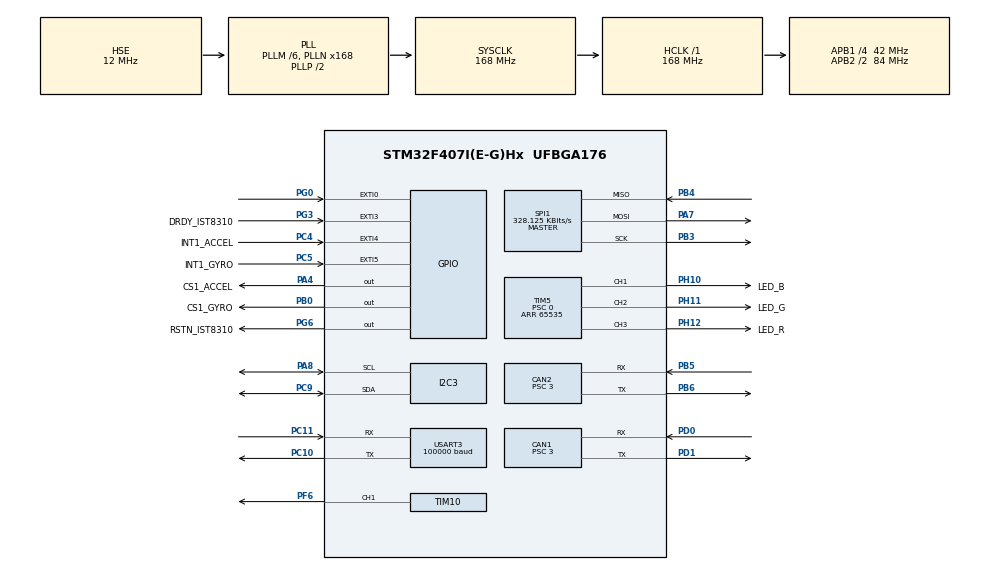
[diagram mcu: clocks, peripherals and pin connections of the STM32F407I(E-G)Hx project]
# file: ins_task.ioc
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CAN1.ABOM=ENABLE
CAN1.BS1=CAN_BS1_9TQ
CAN1.BS2=CAN_BS2_4TQ
CAN1.CalculateTimeQuantum=71.42857142857143
CAN1.Prescaler=3
CAN2.ABOM=ENABLE
CAN2.BS1=CAN_BS1_9TQ
CAN2.BS2=CAN_BS2_4TQ
CAN2.CalculateTimeQuantum=71.42857142857143
CAN2.Prescaler=3
Dma.Request0=SPI1_RX
Dma.Request1=SPI1_TX
Dma.Request2=USART3_RX
Dma.SPI1_RX.0.Direction=DMA_PERIPH_TO_MEMORY
Dma.SPI1_RX.0.FIFOMode=DMA_FIFOMODE_DISABLE
Dma.SPI1_RX.0.Instance=DMA2_Stream2
Dma.SPI1_RX.0.MemDataAlignment=DMA_MDATAALIGN_BYTE
Dma.SPI1_RX.0.MemInc=DMA_MINC_ENABLE
Dma.SPI1_RX.0.Mode=DMA_NORMAL
Dma.SPI1_RX.0.PeriphDataAlignment=DMA_PDATAALIGN_BYTE
Dma.SPI1_RX.0.PeriphInc=DMA_PINC_DISABLE
Dma.SPI1_RX.0.Priority=DMA_PRIORITY_VERY_HIGH
Dma.SPI1_TX.1.Direction=DMA_MEMORY_TO_PERIPH
Dma.SPI1_TX.1.FIFOMode=DMA_FIFOMODE_DISABLE
Dma.SPI1_TX.1.Instance=DMA2_Stream3
Dma.SPI1_TX.1.MemDataAlignment=DMA_MDATAALIGN_BYTE
Dma.SPI1_TX.1.MemInc=DMA_MINC_ENABLE
Dma.SPI1_TX.1.Mode=DMA_NORMAL
Dma.SPI1_TX.1.PeriphDataAlignment=DMA_PDATAALIGN_BYTE
Dma.SPI1_TX.1.PeriphInc=DMA_PINC_DISABLE
Dma.SPI1_TX.1.Priority=DMA_PRIORITY_HIGH
Dma.USART3_RX.2.Direction=DMA_PERIPH_TO_MEMORY
Dma.USART3_RX.2.FIFOMode=DMA_FIFOMODE_DISABLE
Dma.USART3_RX.2.Instance=DMA1_Stream1
Dma.USART3_RX.2.MemDataAlignment=DMA_MDATAALIGN_BYTE
Dma.USART3_RX.2.MemInc=DMA_MINC_ENABLE
Dma.USART3_RX.2.Mode=DMA_NORMAL
Dma.USART3_RX.2.PeriphDataAlignment=DMA_PDATAALIGN_BYTE
Dma.USART3_RX.2.PeriphInc=DMA_PINC_DISABLE
Dma.USART3_RX.2.Priority=DMA_PRIORITY_LOW
FREERTOS.INCLUDE_eTaskGetState=1
FREERTOS.INCLUDE_pcTaskGetTaskName=1
FREERTOS.INCLUDE_uxTaskGetStackHighWaterMark=1
FREERTOS.INCLUDE_vTaskCleanUpResources=1
FREERTOS.INCLUDE_vTaskDelayUntil=1
FREERTOS.INCLUDE_xEventGroupSetBitFromISR=1
FREERTOS.INCLUDE_xQueueGetMutexHolder=1
FREERTOS.INCLUDE_xSemaphoreGetMutexHolder=1
FREERTOS.INCLUDE_xTaskAbortDelay=1
FREERTOS.INCLUDE_xTaskGetCurrentTaskHandle=1
FREERTOS.INCLUDE_xTaskGetHandle=1
FREERTOS.INCLUDE_xTimerPendFunctionCall=1
FREERTOS.Tasks01=test,24,128,test_task,As weak,NULL,Dynamic,NULL,NULL
FREERTOS.configTOTAL_HEAP_SIZE=24576
I2C3.I2C_Mode=I2C_Fast
Mcu.Family=STM32F4
Mcu.Name=STM32F407I(E-G)Hx
Mcu.Package=UFBGA176
NVIC.CAN1_RX0_IRQn=true\:5\:0\:false\:false\:true\:true\:true\:true
NVIC.CAN1_TX_IRQn=true\:5\:0\:false\:false\:true\:true\:true\:true
NVIC.CAN2_RX0_IRQn=true\:5\:0\:false\:false\:true\:true\:true\:true
NVIC.CAN2_TX_IRQn=true\:5\:0\:false\:false\:true\:true\:true\:true
NVIC.DMA1_Stream1_IRQn=true\:5\:0\:false\:false\:true\:true\:false\:true
NVIC.DMA2_Stream2_IRQn=true\:5\:0\:true\:false\:false\:true\:false\:true
NVIC.DMA2_Stream3_IRQn=true\:5\:0\:true\:false\:false\:true\:false\:true
NVIC.EXTI0_IRQn=true\:6\:0\:true\:false\:true\:true\:true\:true
NVIC.EXTI3_IRQn=true\:5\:0\:true\:false\:true\:true\:true\:true
NVIC.EXTI4_IRQn=true\:5\:0\:true\:false\:true\:true\:true\:true
NVIC.EXTI9_5_IRQn=true\:5\:0\:true\:false\:true\:true\:true\:true
NVIC.PriorityGroup=NVIC_PRIORITYGROUP_4
NVIC.USART3_IRQn=true\:5\:0\:false\:false\:true\:true\:true\:true
PA13.Mode=Serial_Wire
PA13.Signal=SYS_JTMS-SWDIO
PA14.Mode=Serial_Wire
PA14.Signal=SYS_JTCK-SWCLK
PA4.GPIO_Label=CS1_ACCEL
PA4.GPIO_PuPd=GPIO_PULLUP
PA4.GPIO_Speed=GPIO_SPEED_FREQ_HIGH
PA4.PinState=GPIO_PIN_SET
PA4.Signal=GPIO_Output
PA7.GPIO_PuPd=GPIO_PULLUP
PA7.Mode=Full_Duplex_Master
PA7.Signal=SPI1_MOSI
PA8.Mode=I2C
PA8.Signal=I2C3_SCL
PB0.GPIO_Label=CS1_GYRO
PB0.GPIO_PuPd=GPIO_PULLUP
PB0.GPIO_Speed=GPIO_SPEED_FREQ_HIGH
PB0.PinState=GPIO_PIN_SET
PB0.Signal=GPIO_Output
PB3.GPIO_PuPd=GPIO_PULLUP
PB3.Mode=Full_Duplex_Master
PB3.Signal=SPI1_SCK
PB4.GPIO_PuPd=GPIO_PULLUP
PB4.Mode=Full_Duplex_Master
PB4.Signal=SPI1_MISO
PB5.Mode=Slave
PB5.Signal=CAN2_RX
PB6.Mode=Slave
PB6.Signal=CAN2_TX
PC10.Mode=Asynchronous
PC10.Signal=USART3_TX
PC11.Mode=Asynchronous
PC11.Signal=USART3_RX
PC4.GPIO_Label=INT1_ACCEL
PC4.GPIO_ModeDefaultEXTI=GPIO_MODE_IT_FALLING
PC4.GPIO_PuPd=GPIO_PULLUP
PC4.Signal=GPXTI4
PC5.GPIO_Label=INT1_GYRO
PC5.GPIO_ModeDefaultEXTI=GPIO_MODE_IT_FALLING
PC5.GPIO_PuPd=GPIO_PULLUP
PC5.Signal=GPXTI5
PC9.Mode=I2C
PC9.Signal=I2C3_SDA
PD0.Mode=Master
PD0.Signal=CAN1_RX
PD1.Mode=Master
PD1.Signal=CAN1_TX
PF6.GPIO_PuPd=GPIO_PULLUP
PF6.GPIO_Speed=GPIO_SPEED_FREQ_HIGH
PF6.Signal=S_TIM10_CH1
PG0.GPIO_ModeDefaultEXTI=GPIO_MODE_IT_FALLING
PG0.GPIO_PuPd=GPIO_PULLUP
PG0.Signal=GPXTI0
PG3.GPIO_Label=DRDY_IST8310
PG3.GPIO_ModeDefaultEXTI=GPIO_MODE_IT_FALLING
PG3.GPIO_PuPd=GPIO_PULLUP
PG3.Signal=GPXTI3
PG6.GPIO_Label=RSTN_IST8310
PG6.GPIO_PuPd=GPIO_PULLUP
PG6.GPIO_Speed=GPIO_SPEED_FREQ_MEDIUM
PG6.PinState=GPIO_PIN_SET
PG6.Signal=GPIO_Output
PH0-OSC_IN.Mode=HSE-External-Oscillator
PH0-OSC_IN.Signal=RCC_OSC_IN
PH1-OSC_OUT.Mode=HSE-External-Oscillator
PH1-OSC_OUT.Signal=RCC_OSC_OUT
PH10.GPIO_Label=LED_B
PH10.GPIO_PuPd=GPIO_PULLUP
PH10.GPIO_Speed=GPIO_SPEED_FREQ_HIGH
PH10.Signal=S_TIM5_CH1
PH11.GPIO_Label=LED_G
PH11.GPIO_PuPd=GPIO_PULLUP
PH11.GPIO_Speed=GPIO_SPEED_FREQ_HIGH
PH11.Signal=S_TIM5_CH2
PH12.GPIO_Label=LED_R
PH12.GPIO_PuPd=GPIO_PULLUP
PH12.GPIO_Speed=GPIO_SPEED_FREQ_HIGH
PH12.Signal=S_TIM5_CH3
ProjectManager.HeapSize=0x2000
ProjectManager.StackSize=0x2000
ProjectManager.TargetToolchain=MDK-ARM V5
RCC.48MHZClocksFreq_Value=48000000
RCC.AHBFreq_Value=168000000
RCC.APB1CLKDivider=RCC_HCLK_DIV4
RCC.APB1Freq_Value=42000000
RCC.APB1TimFreq_Value=84000000
RCC.APB2CLKDivider=RCC_HCLK_DIV2
RCC.APB2Freq_Value=84000000
RCC.APB2TimFreq_Value=168000000
RCC.CortexFreq_Value=168000000
RCC.HCLKFreq_Value=168000000
RCC.HSE_VALUE=12000000
RCC.HSI_VALUE=16000000
RCC.LSE_VALUE=32768
RCC.PLLM=6
RCC.PLLN=168
RCC.PLLQ=7
RCC.PLLSourceVirtual=RCC_PLLSOURCE_HSE
RCC.RCC_RTC_Clock_SourceVirtual=RCC_RTCCLKSOURCE_HSE_DIV30
RCC.RCC_RTC_Clock_Source_FROM_HSE=RCC_RTCCLKSOURCE_HSE_DIV30
RCC.SYSCLKFreq_VALUE=168000000
RCC.SYSCLKSource=RCC_SYSCLKSOURCE_PLLCLK
RCC.VCOOutputFreq_Value=336000000
SH.S_TIM10_CH1.0=TIM10_CH1,PWM Generation1 CH1
SH.S_TIM5_CH1.0=TIM5_CH1,PWM Generation1 CH1
SH.S_TIM5_CH2.0=TIM5_CH2,PWM Generation2 CH2
SH.S_TIM5_CH3.0=TIM5_CH3,PWM Generation3 CH3
SPI1.BaudRatePrescaler=SPI_BAUDRATEPRESCALER_256
SPI1.CLKPhase=SPI_PHASE_2EDGE
SPI1.CLKPolarity=SPI_POLARITY_HIGH
SPI1.CalculateBaudRate=328.125 KBits/s
SPI1.Direction=SPI_DIRECTION_2LINES
SPI1.Mode=SPI_MODE_MASTER
SPI1.VirtualType=VM_MASTER
TIM10.Channel=TIM_CHANNEL_1
TIM10.Period=4999
TIM5.Channel-PWM\ Generation1\ CH1=TIM_CHANNEL_1
TIM5.Channel-PWM\ Generation2\ CH2=TIM_CHANNEL_2
TIM5.Channel-PWM\ Generation3\ CH3=TIM_CHANNEL_3
TIM5.Period=65535
TIM5.Prescaler=0
USART3.BaudRate=100000
USART3.Parity=PARITY_EVEN
USART3.VirtualMode=VM_ASYNC
USART3.WordLength=WORDLENGTH_9B
VP_FREERTOS_VS_CMSIS_V1.Mode=CMSIS_V1
VP_TIM10_VS_ClockSourceINT.Mode=Enable_Timer
VP_TIM5_VS_ClockSourceINT.Mode=Internal
board=custom

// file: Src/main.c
/* USER CODE BEGIN Header */
/**
  ******************************************************************************
  * @file           : main.c
  * @brief          : Main program body
  ******************************************************************************
  * @attention
  *
  * <h2><center>&copy; Copyright (c) 2019 STMicroelectronics.
  * All rights reserved.</center></h2>
  *
  * This software component is licensed by ST under Ultimate Liberty license
  * SLA0044, the "License"; You may not use this file except in compliance with
  * the License. You may obtain a copy of the License at:
  *                             www.st.com/SLA0044
  *
  ******************************************************************************
  */
/* USER CODE END Header */

#include "main.h"
#include "cmsis_os.h"
#include "can.h"
#include "dma.h"
#include "i2c.h"
#include "spi.h"
#include "tim.h"
#include "usart.h"
#include "gpio.h"

/* USER CODE BEGIN Includes */
#include "bsp_delay.h"
#include "bsp_can.h"
#include "pid1.h"
/* USER CODE END Includes */

void SystemClock_Config(void);
void MX_FREERTOS_Init(void);

int main(void)
{

  /* MCU Configuration--------------------------------------------------------*/

  /* Reset of all peripherals, Initializes the Flash interface and the Systick. */
  HAL_Init();

  /* Configure the system clock */
  SystemClock_Config();

  /* Initialize all configured peripherals */
  MX_GPIO_Init();
  MX_DMA_Init();
  MX_SPI1_Init();
  MX_TIM5_Init();
  MX_I2C3_Init();
  MX_TIM10_Init();
  MX_CAN1_Init();
  MX_CAN2_Init();
  MX_USART3_UART_Init();
  /* USER CODE BEGIN 2 */

		can_user_init(); //CAN2过滤器初始化
    delay_init();
		 HAL_Delay(500);
  /* USER CODE END 2 */

  /* Call init function for freertos objects (in freertos.c) */
  MX_FREERTOS_Init();

  /* Start scheduler */
  osKernelStart();

  /* We should never get here as control is now taken by the scheduler */

  /* Infinite loop */
  while (1)
  {

  }
}

void SystemClock_Config(void)
{
  RCC_OscInitTypeDef RCC_OscInitStruct = {0};
  RCC_ClkInitTypeDef RCC_ClkInitStruct = {0};

  /** Configure the main internal regulator output voltage
  */
  __HAL_RCC_PWR_CLK_ENABLE();
  __HAL_PWR_VOLTAGESCALING_CONFIG(PWR_REGULATOR_VOLTAGE_SCALE1);
  /** Initializes the CPU, AHB and APB busses clocks
  */
  RCC_OscInitStruct.OscillatorType = RCC_OSCILLATORTYPE_HSE;
  RCC_OscInitStruct.HSEState = RCC_HSE_ON;
  RCC_OscInitStruct.PLL.PLLState = RCC_PLL_ON;
  RCC_OscInitStruct.PLL.PLLSource = RCC_PLLSOURCE_HSE;
  RCC_OscInitStruct.PLL.PLLM = 6;
  RCC_OscInitStruct.PLL.PLLN = 168;
  RCC_OscInitStruct.PLL.PLLP = RCC_PLLP_DIV2;
  RCC_OscInitStruct.PLL.PLLQ = 7;
  if (HAL_RCC_OscConfig(&RCC_OscInitStruct) != HAL_OK)
  {
    Error_Handler();
  }
  /** Initializes the CPU, AHB and APB busses clocks
  */
  RCC_ClkInitStruct.ClockType = RCC_CLOCKTYPE_HCLK|RCC_CLOCKTYPE_SYSCLK
                              |RCC_CLOCKTYPE_PCLK1|RCC_CLOCKTYPE_PCLK2;
  RCC_ClkInitStruct.SYSCLKSource = RCC_SYSCLKSOURCE_PLLCLK;
  RCC_ClkInitStruct.AHBCLKDivider = RCC_SYSCLK_DIV1;
  RCC_ClkInitStruct.APB1CLKDivider = RCC_HCLK_DIV4;
  RCC_ClkInitStruct.APB2CLKDivider = RCC_HCLK_DIV2;

  if (HAL_RCC_ClockConfig(&RCC_ClkInitStruct, FLASH_LATENCY_5) != HAL_OK)
  {
    Error_Handler();
  }
}

void Error_Handler(void)
{
}

/************************ (C) COPYRIGHT STMicroelectronics *****END OF FILE****/

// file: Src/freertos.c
/* USER CODE BEGIN Header */
/**
  ******************************************************************************
  * File Name          : freertos.c
  * Description        : Code for freertos applications
  ******************************************************************************
  * @attention
  *
  * <h2><center>&copy; Copyright (c) 2019 STMicroelectronics.
  * All rights reserved.</center></h2>
  *
  * This software component is licensed by ST under Ultimate Liberty license
  * SLA0044, the "License"; You may not use this file except in compliance with
  * the License. You may obtain a copy of the License at:
  *                             www.st.com/SLA0044
  *
  ******************************************************************************
  */
/* USER CODE END Header */

#include "FreeRTOS.h"
#include "task.h"
#include "main.h"
#include "cmsis_os.h"

/* USER CODE BEGIN Includes */

#include "INS_task.h"
#include "led_flow_task.h"
#include "chassistask.h"

/* USER CODE END Includes */

/* USER CODE BEGIN PTD */

osThreadId imuTaskHandle;
osThreadId chassistaskhandle;

osThreadId led_RGB_flow_handle;
/* USER CODE END PTD */

osThreadId testHandle;

void test_task(void const * argument);

void MX_FREERTOS_Init(void); /* (MISRA C 2004 rule 8.1) */

/* GetIdleTaskMemory prototype (linked to static allocation support) */
void vApplicationGetIdleTaskMemory( StaticTask_t **ppxIdleTaskTCBBuffer, StackType_t **ppxIdleTaskStackBuffer, uint32_t *pulIdleTaskStackSize );

/* GetTimerTaskMemory prototype (linked to static allocation support) */
void vApplicationGetTimerTaskMemory( StaticTask_t **ppxTimerTaskTCBBuffer, StackType_t **ppxTimerTaskStackBuffer, uint32_t *pulTimerTaskStackSize );

/* USER CODE BEGIN GET_IDLE_TASK_MEMORY */
static StaticTask_t xIdleTaskTCBBuffer;
static StackType_t xIdleStack[configMINIMAL_STACK_SIZE];

void vApplicationGetIdleTaskMemory( StaticTask_t **ppxIdleTaskTCBBuffer, StackType_t **ppxIdleTaskStackBuffer, uint32_t *pulIdleTaskStackSize )
{
  *ppxIdleTaskTCBBuffer = &xIdleTaskTCBBuffer;
  *ppxIdleTaskStackBuffer = &xIdleStack[0];
  *pulIdleTaskStackSize = configMINIMAL_STACK_SIZE;
  /* place for user code */
}
/* USER CODE END GET_IDLE_TASK_MEMORY */

/* USER CODE BEGIN GET_TIMER_TASK_MEMORY */
static StaticTask_t xTimerTaskTCBBuffer;
static StackType_t xTimerStack[configTIMER_TASK_STACK_DEPTH];

void vApplicationGetTimerTaskMemory( StaticTask_t **ppxTimerTaskTCBBuffer, StackType_t **ppxTimerTaskStackBuffer, uint32_t *pulTimerTaskStackSize )
{
  *ppxTimerTaskTCBBuffer = &xTimerTaskTCBBuffer;
  *ppxTimerTaskStackBuffer = &xTimerStack[0];
  *pulTimerTaskStackSize = configTIMER_TASK_STACK_DEPTH;
  /* place for user code */
}
/* USER CODE END GET_TIMER_TASK_MEMORY */

void MX_FREERTOS_Init(void) {

  /* Create the thread(s) */
  /* definition and creation of test */
  osThreadDef(test, test_task, osPriorityNormal, 0, 128);
  testHandle = osThreadCreate(osThread(test), NULL);

  /* USER CODE BEGIN RTOS_THREADS */
  /* add threads, ... */

    osThreadDef(imuTask, INS_task, osPriorityRealtime, 0, 1024);
    imuTaskHandle = osThreadCreate(osThread(imuTask), NULL);

		osThreadDef(chassis,chassis_task,osPriorityRealtime,0,1024);
	chassistaskhandle=osThreadCreate(osThread(chassis), NULL);

    osThreadDef(led, led_RGB_flow_task, osPriorityNormal, 0, 256);
    led_RGB_flow_handle = osThreadCreate(osThread(led), NULL);
  /* USER CODE END RTOS_THREADS */

}

__weak void test_task(void const * argument)
{

  for(;;)
  {
    osDelay(1);
  }
}

/************************ (C) COPYRIGHT STMicroelectronics *****END OF FILE****/
